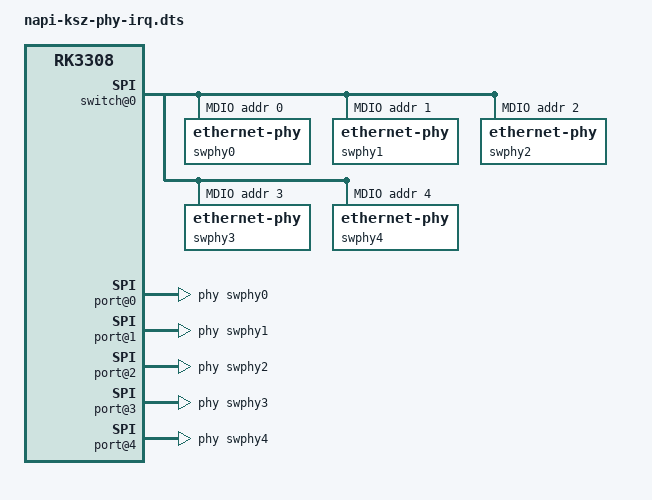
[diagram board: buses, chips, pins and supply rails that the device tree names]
// NAPI-Switch: interrupt-driven link detection for the KSZ9567 PHYs.
//
// Without an "mdio" subnode the ksz driver does not register its own PHY
// bus: DSA puts the PHYs on the generic "dsa-0.0" bus without interrupts and
// phylib polls them once a second, so a link loss is noticed up to 1 s late
// (INTRP_N -> GPIO4_B1 is wired and in the DT, but never fires).
// With this node and a phy-handle per port, ksz_mdio_register() creates the
// "SMI-0" bus and ksz_irq_phy_setup() maps each PHY's interrupt
// (port_irq-N -> PHY source), so link changes arrive in milliseconds.
// Needed for ring redundancy (MRP).
//
// Build: dtc -@ -I dts -O dtb -o napi-ksz-phy-irq.dtbo napi-ksz-phy-irq.dts
// Install: /boot/overlay-user/, first boot via oneshot_overlays only.

/dts-v1/;
/plugin/;

/ {
	compatible = "rockchip,rk3308";

	fragment@0 {
		target-path = "/spi@ff140000/switch@0";
		__overlay__ {
			mdio {
				#address-cells = <1>;
				#size-cells = <0>;

				swphy0: ethernet-phy@0 { reg = <0>; };
				swphy1: ethernet-phy@1 { reg = <1>; };
				swphy2: ethernet-phy@2 { reg = <2>; };
				swphy3: ethernet-phy@3 { reg = <3>; };
				swphy4: ethernet-phy@4 { reg = <4>; };
			};
		};
	};

	fragment@1 {
		target-path = "/spi@ff140000/switch@0/ethernet-ports/port@0";
		__overlay__ { phy-handle = <&swphy0>; };
	};
	fragment@2 {
		target-path = "/spi@ff140000/switch@0/ethernet-ports/port@1";
		__overlay__ { phy-handle = <&swphy1>; };
	};
	fragment@3 {
		target-path = "/spi@ff140000/switch@0/ethernet-ports/port@2";
		__overlay__ { phy-handle = <&swphy2>; };
	};
	fragment@4 {
		target-path = "/spi@ff140000/switch@0/ethernet-ports/port@3";
		__overlay__ { phy-handle = <&swphy3>; };
	};
	fragment@5 {
		target-path = "/spi@ff140000/switch@0/ethernet-ports/port@4";
		__overlay__ { phy-handle = <&swphy4>; };
	};
};
